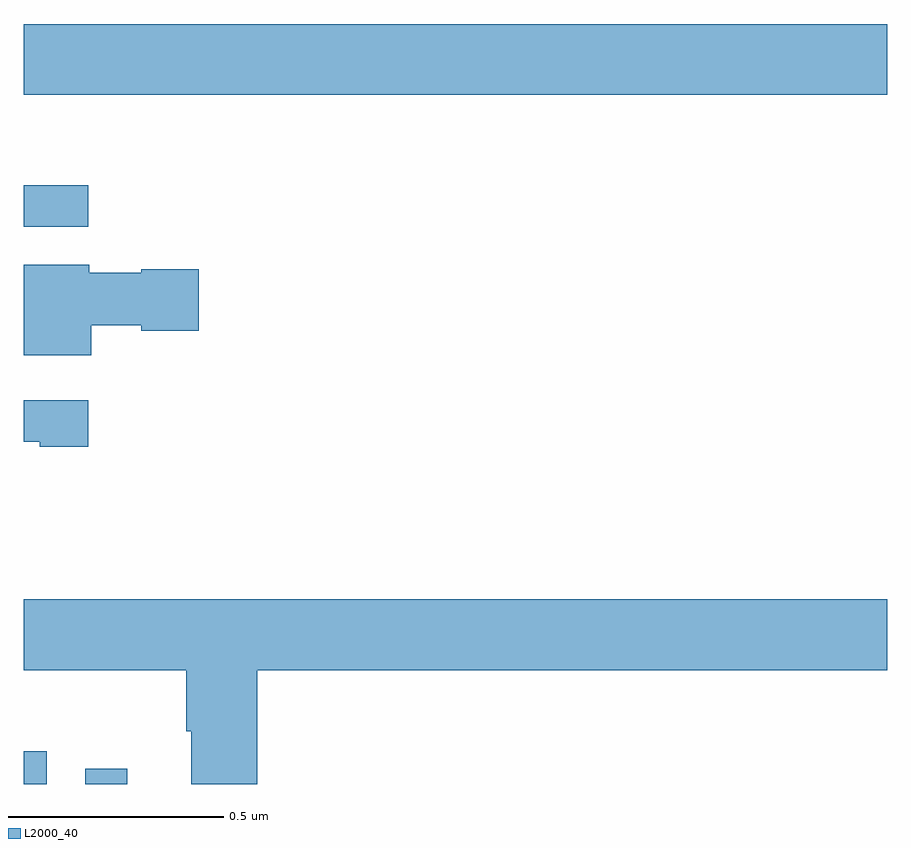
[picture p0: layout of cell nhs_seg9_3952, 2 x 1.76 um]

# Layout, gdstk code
import gdstk
lib = gdstk.Library(unit=1e-6, precision=1e-09)
def R(c, l, rs):  # rectangles x0, y0, x1, y1
    for r in rs: c.add(gdstk.rectangle(r[:2], r[2:], *l))
def P(c, l, *ps):  # polygons
    for p in ps: c.add(gdstk.Polygon(p, *l))
L2000_40 = (2000, 40)

nhs_seg9_3952 = lib.new_cell('nhs_seg9_3952')
R(nhs_seg9_3952, L2000_40, [(160,1185.5,160.053,1185.576), (160.143,1185.5,160.24,1185.535), (160,1186.791,160.15,1186.887), (160,1187.096,162,1187.26)])
P(nhs_seg9_3952, L2000_40, [(160.156,1186.562),(160.272,1186.562),(160.272,1186.55),(160.405,1186.55),(160.405,1186.692),(160.272,1186.692),(160.272,1186.684),(160.152,1186.684),(160.152,1186.702),(160,1186.702),(160,1186.493),(160.156,1186.493)],
  [(160.15,1186.389),(160,1186.389),(160,1186.293),(160.037,1186.293),(160.037,1186.281),(160.15,1186.281)],
  [(160.541,1185.764),(162,1185.764),(162,1185.928),(160,1185.928),(160,1185.764),(160.376,1185.764),(160.376,1185.622),(160.388,1185.622),(160.388,1185.5),(160.541,1185.5)])

lib.write_gds('nhs_seg9_3952.gds')
